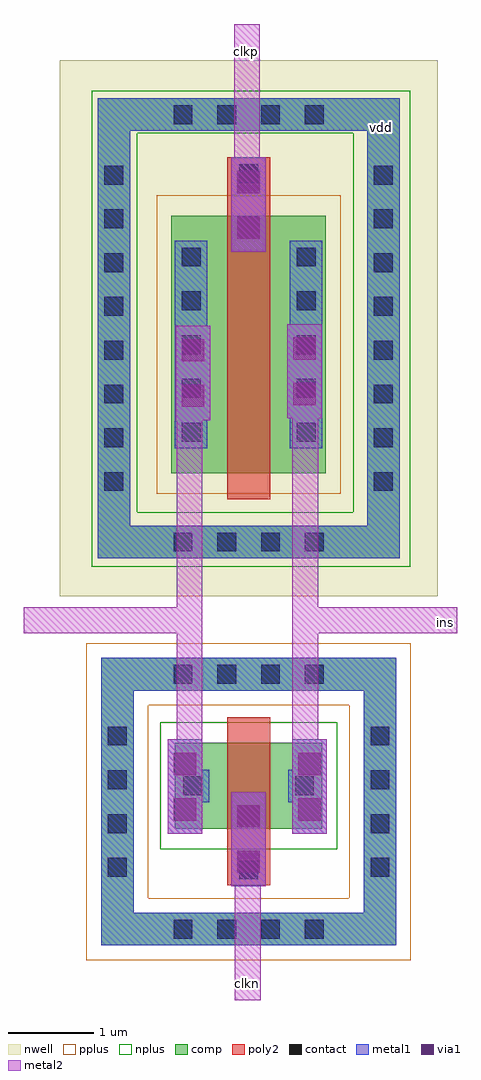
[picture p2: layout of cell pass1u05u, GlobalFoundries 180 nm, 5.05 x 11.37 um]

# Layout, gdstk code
import gdstk
lib = gdstk.Library(unit=1e-6, precision=5e-09)
def R(c, l, rs):  # rectangles x0, y0, x1, y1
    for r in rs: c.add(gdstk.rectangle(r[:2], r[2:], *l))
def A(c, l, x, y, w, h, nx, ny, dx, dy):  # array of equal rectangles
    R(c, l, [(x+i*dx, y+j*dy, x+i*dx+w, y+j*dy+h) for i in range(nx) for j in range(ny)])
def P(c, l, *ps):  # polygons
    for p in ps: c.add(gdstk.Polygon(p, *l))
nwell = (21, 0)
comp = (22, 0)
poly2 = (30, 0)
pplus = (31, 0)
nplus = (32, 0)
contact = (33, 0)
metal1 = (34, 0)
via1 = (35, 0)
metal2 = (36, 0)

via_dev_14 = lib.new_cell('via_dev$14')
R(via_dev_14, metal1, [(0,0,0.4,1.1)])
R(via_dev_14, via1, [(0.07,0.155,0.33,0.415), (0.07,0.685,0.33,0.945)])
R(via_dev_14, metal2, [(0,0,0.4,1.1)])

nfet_5 = lib.new_cell('nfet$5')
R(nfet_5, comp, [(-0.42,0,0,1), (0,0,0.88,1), (0.88,0,1.3,1)])
P(nfet_5, comp, [(-1.28,-1.36),(-1.28,1.61),(-0.9,1.61),(-0.9,-0.98),(1.78,-0.98),(1.78,1.61),(-1.28,1.61),(-1.28,1.99),(2.16,1.99),(2.16,-1.36)])
R(nfet_5, poly2, [(0.19,-0.66,0.69,-0.3), (0.19,-0.3,0.69,1.3)])
P(nfet_5, pplus, [(-1.45,-1.53),(-1.45,1.44),(-0.73,1.44),(-0.73,-0.81),(1.61,-0.81),(1.61,1.44),(-1.45,1.44),(-1.45,2.16),(2.33,2.16),(2.33,-1.53)])
R(nfet_5, nplus, [(-0.59,-0.24,1.47,1.24)])
A(nfet_5, contact, -0.435, -1.28, 0.22, 0.22, 4, 2, 0.51, 2.97)
A(nfet_5, contact, -1.2, -0.56, 0.22, 0.22, 1, 4, 0, 0.51)
A(nfet_5, contact, 1.86, -0.56, 0.22, 0.22, 1, 4, 0, 0.51)
R(nfet_5, contact, [(0.33,-0.59,0.55,-0.37), (-0.32,0.39,-0.1,0.61), (0.98,0.39,1.2,0.61)])
R(nfet_5, metal1, [(0.25,-0.67,0.63,-0.29), (-0.4,0.31,-0.02,0.69), (0.9,0.31,1.28,0.69)])

pfet_5 = lib.new_cell('pfet$5')
R(pfet_5, nwell, [(-1.76,-1.43,2.64,4.81)])
R(pfet_5, comp, [(-0.46,0,0,3), (0,0,0.88,3), (0.88,0,1.34,3)])
P(pfet_5, comp, [(-1.32,-0.99),(-1.32,3.99),(-0.94,3.99),(-0.94,-0.61),(1.82,-0.61),(1.82,3.99),(-1.32,3.99),(-1.32,4.37),(2.2,4.37),(2.2,-0.99)])
R(pfet_5, poly2, [(0.19,-0.3,0.69,3.3), (0.19,3.3,0.69,3.68)])
R(pfet_5, pplus, [(-0.63,-0.24,1.51,3.24)])
A(pfet_5, contact, -0.435, -0.91, 0.22, 0.22, 4, 2, 0.51, 4.98)
A(pfet_5, contact, -1.24, -0.205, 0.22, 0.22, 1, 8, 0, 0.51)
A(pfet_5, contact, 1.9, -0.205, 0.22, 0.22, 1, 8, 0, 0.51)
A(pfet_5, contact, -0.34, 0.37, 0.22, 0.22, 1, 5, 0, 0.51)
A(pfet_5, contact, 1, 0.37, 0.22, 0.22, 1, 5, 0, 0.51)
R(pfet_5, contact, [(0.33,3.38,0.55,3.6)])
R(pfet_5, metal1, [(-0.42,0.29,-0.04,2.71), (0.92,0.29,1.3,2.71), (0.25,3.3,0.63,3.68)])

pass1u05u = lib.new_cell('pass1u05u')
R(pass1u05u, nplus, [(-8.555,11.765,-4.845,12.405), (-8.555,11.765,-8.025,17.305), (-5.505,11.765,-4.845,17.315), (-8.555,16.815,-4.845,17.315)])
R(pass1u05u, metal1, [(-8.445,7.355,-8.065,10.705), (-8.065,7.355,-5.005,7.735), (-5.385,7.735,-5.005,10.705), (-8.065,10.325,-5.385,10.705), (-8.485,11.865,-8.105,17.225), (-8.105,11.865,-4.965,12.245), (-5.345,12.245,-4.965,17.225), (-8.105,16.845,-5.345,17.225)])
pass1u05u.add(gdstk.FlexPath([(-4.295,11.145),(-6.215,11.145)], 0.3, ends="flush", simple_path=True, layer=36, datatype=0))  # metal2
pass1u05u.add(gdstk.FlexPath([(-7.415,11.145),(-9.345,11.145)], 0.3, ends="flush", simple_path=True, layer=36, datatype=0))  # metal2
pass1u05u.add(gdstk.FlexPath([(-6.745,16.155),(-6.745,18.09)], 0.3, ends="flush", simple_path=True, layer=36, datatype=0))  # metal2
pass1u05u.add(gdstk.FlexPath([(-6.735,8.345),(-6.735,6.72)], 0.3, ends="flush", simple_path=True, layer=36, datatype=0))  # metal2
pass1u05u.add(gdstk.FlexPath([(-6.065,13.63),(-6.065,8.655)], 0.3, ends="flush", simple_path=True, layer=36, datatype=0))  # metal2
pass1u05u.add(gdstk.FlexPath([(-7.415,13.63),(-7.415,8.655)], 0.3, ends="flush", simple_path=True, layer=36, datatype=0))  # metal2
pass1u05u.add(gdstk.Reference(via_dev_14, (-6.925,8.045)))
pass1u05u.add(gdstk.Reference(via_dev_14, (-6.925,15.435)))
pass1u05u.add(gdstk.Reference(nfet_5, (-7.165,8.715)))
pass1u05u.add(gdstk.Reference(pfet_5, (-7.165,12.855)))
pass1u05u.add(gdstk.Reference(via_dev_14, (-6.275,13.495)))
pass1u05u.add(gdstk.Reference(via_dev_14, (-7.575,13.475)))
pass1u05u.add(gdstk.Reference(via_dev_14, (-6.215,8.655)))
pass1u05u.add(gdstk.Reference(via_dev_14, (-7.665,8.655)))
pass1u05u.add(gdstk.Label('vdd', (-5.175,16.885), layer=34, texttype=10))
pass1u05u.add(gdstk.Label('clkn', (-6.735,6.915), layer=36, texttype=10))
pass1u05u.add(gdstk.Label('clkp', (-6.745,17.775), layer=36, texttype=10))
pass1u05u.add(gdstk.Label('ins', (-4.435,11.115), layer=36, texttype=10))

lib.write_gds('pass1u05u.gds')
